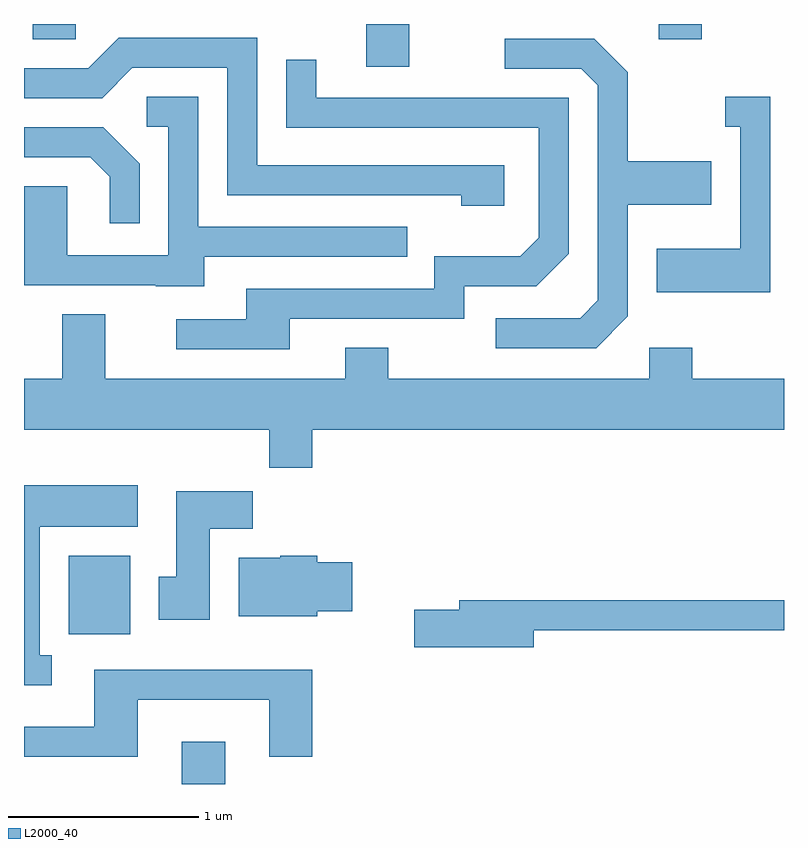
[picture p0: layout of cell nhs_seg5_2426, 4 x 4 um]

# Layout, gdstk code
import gdstk
lib = gdstk.Library(unit=1e-6, precision=1e-09)
def R(c, l, rs):  # rectangles x0, y0, x1, y1
    for r in rs: c.add(gdstk.rectangle(r[:2], r[2:], *l))
def P(c, l, *ps):  # polygons
    for p in ps: c.add(gdstk.Polygon(p, *l))
L2000_40 = (2000, 40)

nhs_seg5_2426 = lib.new_cell('nhs_seg5_2426')
R(nhs_seg5_2426, L2000_40, [(258.441,1426.072,258.669,1426.294), (257.846,1426.861,258.169,1427.274), (259.411,1429.846,259.639,1430.072), (257.656,1429.991,257.884,1430.072), (260.951,1429.991,261.179,1430.072)])
P(nhs_seg5_2426, L2000_40, [(260.139,1429.329),(258.839,1429.329),(258.839,1429.999),(258.109,1429.999),(257.949,1429.839),(257.611,1429.839),(257.611,1429.681),(258.022,1429.681),(258.182,1429.841),(258.681,1429.841),(258.681,1429.171),(259.911,1429.171),(259.911,1429.116),(260.139,1429.116)],
  [(260.789,1428.534),(260.789,1429.121),(261.229,1429.121),(261.229,1429.349),(260.789,1429.349),(260.789,1429.817),(260.611,1429.994),(260.142,1429.994),(260.142,1429.836),(260.544,1429.836),(260.631,1429.749),(260.631,1428.617),(260.539,1428.524),(260.093,1428.524),(260.093,1428.366),(260.622,1428.366)],
  [(259.009,1428.521),(259.929,1428.521),(259.929,1428.691),(260.307,1428.691),(260.479,1428.864),(260.479,1429.684),(259.149,1429.684),(259.149,1429.883),(258.991,1429.883),(258.991,1429.526),(260.321,1429.526),(260.321,1428.947),(260.224,1428.849),(259.771,1428.849),(259.771,1428.679),(258.781,1428.679),(258.781,1428.519),(258.413,1428.519),(258.413,1428.361),(259.009,1428.361)],
  [(261.539,1429.689),(261.303,1429.689),(261.303,1429.531),(261.381,1429.531),(261.381,1428.889),(260.941,1428.889),(260.941,1428.661),(261.539,1428.661)],
  [(258.559,1428.846),(259.628,1428.846),(259.628,1429.004),(258.529,1429.004),(258.529,1429.689),(258.258,1429.689),(258.258,1429.531),(258.371,1429.531),(258.371,1428.854),(257.839,1428.854),(257.839,1429.219),(257.611,1429.219),(257.611,1428.696),(258.305,1428.696),(258.305,1428.691),(258.559,1428.691)],
  [(258.219,1429.337),(258.027,1429.529),(257.611,1429.529),(257.611,1429.371),(257.959,1429.371),(258.061,1429.269),(258.061,1429.023),(258.219,1429.023)],
  [(259.129,1427.936),(261.611,1427.936),(261.611,1428.204),(261.129,1428.204),(261.129,1428.369),(260.901,1428.369),(260.901,1428.204),(259.529,1428.204),(259.529,1428.369),(259.301,1428.369),(259.301,1428.204),(258.039,1428.204),(258.039,1428.544),(257.811,1428.544),(257.811,1428.204),(257.611,1428.204),(257.611,1427.936),(258.901,1427.936),(258.901,1427.736),(259.129,1427.736)],
  [(257.758,1426.749),(257.694,1426.749),(257.694,1427.426),(258.209,1427.426),(258.209,1427.644),(257.611,1427.644),(257.611,1426.591),(257.758,1426.591)],
  [(258.589,1427.416),(258.814,1427.416),(258.814,1427.614),(258.411,1427.614),(258.411,1427.164),(258.321,1427.164),(258.321,1426.936),(258.589,1426.936)],
  [(259.154,1426.981),(259.339,1426.981),(259.339,1427.239),(259.154,1427.239),(259.154,1427.274),(258.96,1427.274),(258.96,1427.264),(258.741,1427.264),(258.741,1426.956),(259.154,1426.956)],
  [(260.294,1426.881),(261.611,1426.881),(261.611,1427.039),(259.901,1427.039),(259.901,1426.989),(259.666,1426.989),(259.666,1426.791),(260.294,1426.791)],
  [(258.209,1426.516),(258.901,1426.516),(258.901,1426.216),(259.129,1426.216),(259.129,1426.674),(257.981,1426.674),(257.981,1426.374),(257.611,1426.374),(257.611,1426.216),(258.209,1426.216)])

lib.write_gds('nhs_seg5_2426.gds')
